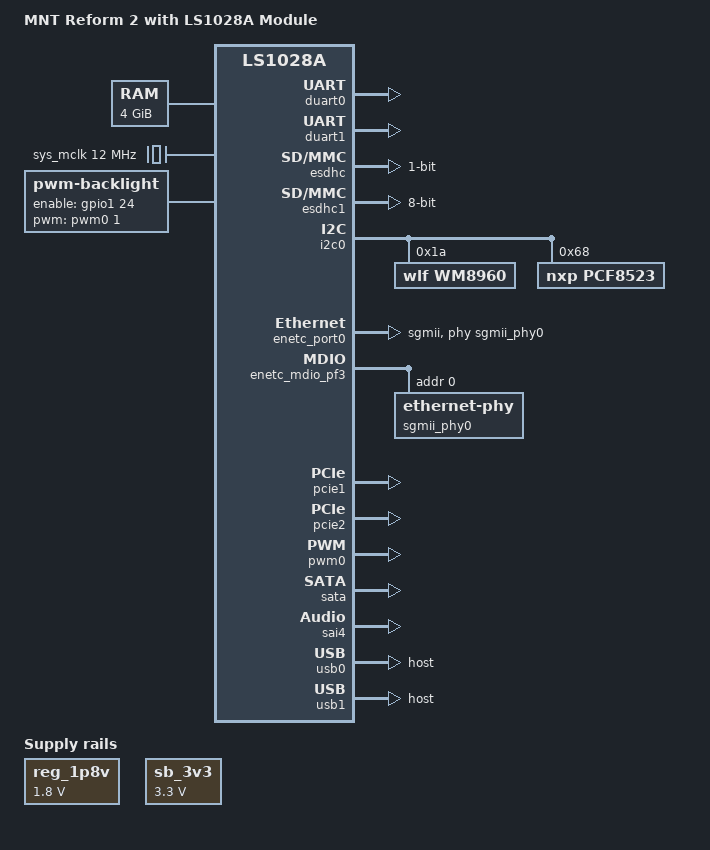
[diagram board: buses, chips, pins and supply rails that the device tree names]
// SPDX-License-Identifier: (GPL-2.0+ OR MIT)
/*
 * Device Tree file for MNT Reform 2 with RBZ LS1028A SOM.
 *
 * Copyright 2022 MNT Research GmbH
 *
 * Lukas F. Hartmann <lukas@mntre.com>
 *
 */

/dts-v1/;
#include "fsl-ls1028a.dtsi"

#include <dt-bindings/gpio/gpio.h>

/ {
	model = "MNT Reform 2 with LS1028A Module";
	compatible = "fsl,ls1028a-rdb", "fsl,ls1028a";

	aliases {
		crypto = &crypto;
		serial0 = &duart0;
		serial1 = &duart1;
		mmc0 = &esdhc;
		mmc1 = &esdhc1;
		rtc1 = &ftm_alarm0;
	};

	chosen {
		stdout-path = "serial0:115200n8";
	};

	memory@80000000 {
		device_type = "memory";
		reg = <0x0 0x80000000 0x1 0x0000000>;
	};

	sys_mclk: clock-mclk {
		compatible = "fixed-clock";
		#clock-cells = <0>;
		clock-frequency = <12000000>;
	};

	reg_1p8v: regulator-1p8v {
		compatible = "regulator-fixed";
		regulator-name = "1P8V";
		regulator-min-microvolt = <1800000>;
		regulator-max-microvolt = <1800000>;
		regulator-always-on;
	};

	sb_3v3: regulator-sb3v3 {
		compatible = "regulator-fixed";
		regulator-name = "3v3_vbus";
		regulator-min-microvolt = <3300000>;
		regulator-max-microvolt = <3300000>;
		regulator-boot-on;
		regulator-always-on;
	};

	sound {
		compatible = "fsl,imx-audio-wm8960";
		model = "wm8960-audio";
		audio-cpu = <&sai4>;
		audio-codec = <&wm8960>;

		audio-routing =
			"Headphone Jack", "HP_L",
			"Headphone Jack", "HP_R",
			"Ext Spk", "SPK_LP",
			"Ext Spk", "SPK_LN",
			"Ext Spk", "SPK_RP",
			"Ext Spk", "SPK_RN",
			"LINPUT1", "Mic Jack",
			"Mic Jack", "MICB",
			"LINPUT2", "Line In Jack",
			"RINPUT2", "Line In Jack";
	};

	backlight: backlight {
		compatible = "pwm-backlight";
		pwms = <&pwm0 1 10000 0>;
		brightness-levels = <0 8 16 32 64 128 160 200 255>;
		default-brightness-level = <8>;
		enable-gpios = <&gpio1 24 GPIO_ACTIVE_HIGH>;
	};
};

&dpclk {
	// DP VCO clock is eDP pixel clock (162MHz) divided by 1.25
	fsl,vco-hz = <1296000000>;
};

&duart0 {
	status = "okay";
};

&duart1 {
	status = "okay";
};

&esdhc {
	sd-uhs-sdr50;
	sd-uhs-sdr25;
	sd-uhs-sdr12;
	bus-width = <1>;
	status = "okay";
};

&esdhc1 {
	mmc-hs200-1_8v;
	bus-width = <8>;
	status = "okay";
};

&fspi {
	status = "disabled";
};

&i2c0 {
	status = "okay";

	// Audio chip on motherboard
	wm8960: codec@1a {
		#sound-dai-cells = <0>;
		compatible = "wlf,wm8960";
		reg = <0x1a>;
		clocks = <&sys_mclk>;
		clock-names = "mclk";
	};

	// Realtime clock chip on motherboard
	pcf8523: pcf8523@68 {
		compatible = "nxp,pcf8523";
		reg = <0x68>;
	};
};

&enetc_port0 {
	phy-handle = <&sgmii_phy0>;
	phy-connection-type = "sgmii";
	managed = "in-band-status";
	status = "okay";
};

&enetc_mdio_pf3 {
	sgmii_phy0: ethernet-phy@0 {
		reg = <0x0>;
	};
};

/*
XSPI1_A_DATA4 = GPIO2_DAT28
XSPI1_A_DATA5 = GPIO2_DAT29
XSPI1_A_DATA6 = GPIO2_DAT30
*/

&pcie1 {
	status = "okay";
};

&pcie2 {
	status = "okay";
};

&pwm0 {
	status = "okay";
};

&sata {
	status = "okay";
	dma-coherent;
};

&sai4 {
	fsl,sai-mclk-direction-output;
	status = "okay";
};

&usb0 {
	dr_mode = "host";
	status = "okay";
};

&usb1 {
	dr_mode = "host";
	status = "okay";
};
